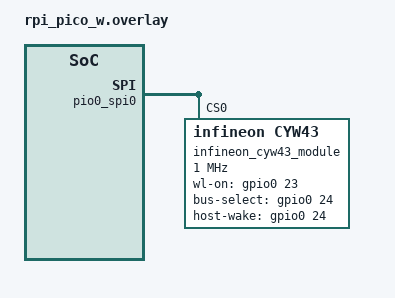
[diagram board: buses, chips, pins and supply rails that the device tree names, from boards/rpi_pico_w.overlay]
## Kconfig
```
config WIFI_SSID
	string "WIFI SSID - Network name"
	default ""

config WIFI_PSK
	string "WIFI PSK - Network password key"
	default ""

menu "Zephyr"
source "Kconfig.zephyr"
endmenu

module = wifi-example-app
module-str = Example App for Pico W wifi
```

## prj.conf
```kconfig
#
# Copyright (c) 2023 Beechwoods Software
#
# SPDX-License-Identifier: Apache-2.0
#
CONFIG_REBOOT=y

CONFIG_MAIN_STACK_SIZE=2048
CONFIG_LOG_PROCESS_THREAD_STACK_SIZE=1024
CONFIG_NET_MGMT_EVENT_STACK_SIZE=2048
CONFIG_SHELL_STACK_SIZE=2560

CONFIG_NET_SOCKETS_SERVICE_STACK_SIZE=3072

CONFIG_NET_LOG=y
#CONFIG_NET_IF_LOG_LEVEL_DBG=y
#CONFIG_NET_PKT_LOG_LEVEL_DBG=y
#CONFIG_WIFI_LOG_LEVEL_DBG=y
#CONFIG_NET_CAPTURE_LOG_LEVEL_DBG=y
#CONFIG_DNS_RESOLVER_LOG_LEVEL_DBG=y
#CONFIG_NET_DHCPV4_LOG_LEVEL_DBG=y
#CONFIG_NET_DHCPV4_SERVER_LOG_LEVEL_DBG=y
#CONFIG_BT_HCI_DRIVER_LOG_LEVEL_DBG=y

CONFIG_POSIX_API=y

CONFIG_WIFI=y
CONFIG_WIFI_ZEPHYR_CYW43=y
CONFIG_WIFI_ESP32=n
CONFIG_CYW43439=n
CONFIG_WIFI_AIROC=n

CONFIG_UART_CONSOLE_DEBUG_SERVER_HOOKS=n

CONFIG_WIFI_ZEPHYR_CYW43_SHELL=y

CONFIG_ENTROPY_GENERATOR=y
CONFIG_TEST_RANDOM_GENERATOR=y

CONFIG_NETWORKING=y
CONFIG_NET_L2_ETHERNET=y
CONFIG_INIT_STACKS=y
CONFIG_NET_STATISTICS=y
CONFIG_NET_STATISTICS_WIFI=y
CONFIG_NET_STATISTICS_USER_API=y

CONFIG_NET_SHELL=y
CONFIG_NET_CONFIG_SETTINGS=y
CONFIG_NET_CONFIG_INIT_TIMEOUT=60
CONFIG_NET_CONFIG_AUTO_INIT=n
CONFIG_NET_L2_WIFI_SHELL=y

CONFIG_NET_UDP=y
CONFIG_NET_TCP=y

CONFIG_NET_MGMT=y
CONFIG_NET_MGMT_EVENT=y
CONFIG_WIFI_MGMT_RAW_SCAN_RESULTS=y
CONFIG_NET_MGMT_EVENT_MONITOR=y

CONFIG_NET_IPV6=n
CONFIG_NET_IPV4=y
CONFIG_CYW43_WIFI_STA_AUTO_DHCPV4=y
CONFIG_CYW43_WIFI_AP_AUTO_DHCPV4=y
CONFIG_CYW43_WIFI_AP_AUTO_DHCPV4_ADDRESS="192.168.10.1"
CONFIG_CYW43_WIFI_AP_AUTO_DHCPV4_NETMASK="255.255.255.0"


CONFIG_DNS_RESOLVER=y
#CONFIG_DNS_RESOLVER_ADDITIONAL_BUF_CTR=5
#CONFIG_DNS_RESOLVER_ADDITIONAL_QUERIES=2
#CONFIG_MDNS_RESOLVER=y
#CONFIG_DNS_SERVER_IP_ADDRESSES=y
#CONFIG_DNS_SERVER1="8.8.8.8"

# Powersave parameters
CONFIG_WIFI_ZEPHYR_CYW43_POWERSAVE_MODE=0
CONFIG_WIFI_ZEPHYR_CYW43_POWERSAVE_PM2_SLEEP_RET_MS=20
CONFIG_WIFI_ZEPHYR_CYW43_POWERSAVE_LI_BEACON_PERIOD=1
CONFIG_WIFI_ZEPHYR_CYW43_POWERSAVE_LI_DTIM_PERIOD=1
CONFIG_WIFI_ZEPHYR_CYW43_POWERSAVE_LI_ASSOC=10

#Bluetooth - Comment the items below out if you only want wifi
CONFIG_BT=y
CONFIG_BT_SHELL=y
CONFIG_BT_DEVICE_NAME="test-picow-bluetooth"
CONFIG_BT_MAX_CONN=16
CONFIG_BT_ID_MAX=2
```

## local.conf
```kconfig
#CONFIG_WIFI_SSID=<your ssid>
#CONFIG_WIFI_PSK=<your passphrase>
```

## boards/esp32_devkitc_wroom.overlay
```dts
&wifi {
        status = "okay";
};
```

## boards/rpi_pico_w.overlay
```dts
/ {
        chosen {
	       zephyr,bt_hci = &cyw43_bt_hci;
	};

};


&pio0 {
 	status = "okay";

	pio0_spi0: pio0_spi0 {

		infineon_cyw43_module: infineon_cyw43_module@0 {
                	compatible = "infineon,cyw43";
			reg = < 0x0 >;
		        clocks = < &clocks RPI_PICO_CLKID_CLK_SYS >;
                      
                        spi-max-frequency = < 1000000 >;

			wl-on-gpios = < &gpio0 23 GPIO_ACTIVE_HIGH >;
                        bus-select-gpios = < &gpio0 24 GPIO_ACTIVE_HIGH >;
			host-wake-gpios = <&gpio0 24 GPIO_ACTIVE_HIGH>;
	
                        pinctrl-0 = <&airoc_wifi_default>;
			pinctrl-1 = <&airoc_wifi_host_wake>;
			pinctrl-names = "default", "host_wake";
                        
		        status = "okay";

                        cyw43_led: cyw43_led {	/* Pico W LED is on CYW43439 GPIO 0 */
				compatible = "infineon,cyw43-led";
			};
			cyw43_gpio: cyw43_gpio {
				compatible = "infineon,cyw43-gpio";
                                gpio-controller;
                                #gpio-cells = <2>;
                                ngpios = <3>;
			};
			cyw43_bt_hci: cyw43_bt_hci {
				compatible = "infineon,cyw43-bt-hci";
			};

		};
	};
};
```

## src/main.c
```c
/*
 * Copyright (c) 2023 Beechwoods Software
 *
 * SPDX-License-Identifier: Apache-2.0
 */

#include <stdio.h>
#include <unistd.h>
#include <zephyr/net/wifi_mgmt.h>
#include <zephyr/net/net_if.h>
#include <zephyr/net/net_config.h>

void wifi_connect(char *ssid, char * passwd) {
    int ret;
    
    struct net_if *iface = net_if_get_default();
    printf("Default interface is %s\n", iface->if_dev->dev->name);
    static struct wifi_connect_req_params req_params = {
        .channel = 0,
        .security = WIFI_SECURITY_TYPE_PSK,
    };
    req_params.ssid = ssid;
    req_params.ssid_length = strlen(ssid);
    req_params.psk = passwd;
    req_params.psk_length = strlen(passwd);
    printf("\n\ncalling net_mgmt(NET_REQUEST_WIFI_CONNECT)\n");
    ret = net_mgmt(NET_REQUEST_WIFI_CONNECT, iface, &req_params, sizeof(struct wifi_connect_req_params));
    printf("%d Finished calling net_mgmt(NET_REQUEST_WIFI_SCAN)\n", ret);
}

int main(void)
{
	/* NET_CONFIG_SETTINGS will init DHCP
	 * NET_SHELL is enabled to test driver and network stack
	 */

  if (strcmp(CONFIG_WIFI_SSID, "") && strcmp(CONFIG_WIFI_PSK, "")) {
    sleep(1);
    printf("Connecting to network \"%s\"\n", CONFIG_WIFI_SSID);
    wifi_connect(CONFIG_WIFI_SSID, CONFIG_WIFI_PSK);
  }
  else {
    printf("To configure wifi, either:\n");
    printf("\n");
    printf("  1. Run 'wifi connect -s <SSID> -p <PSK> -k <security type... probably 1>' on the command line.\n");
    printf("\n");
    printf("                        - or -\n");
    printf("\n");
    printf("  2. Define CONFIG_WIFI_SSID and CONFIG_WIFI_PSK in local.conf and rebuild.\n");
    printf("\n");
  }
  (void)net_config_init_app(NULL, "Initializing network");
  return 0;
}
```
